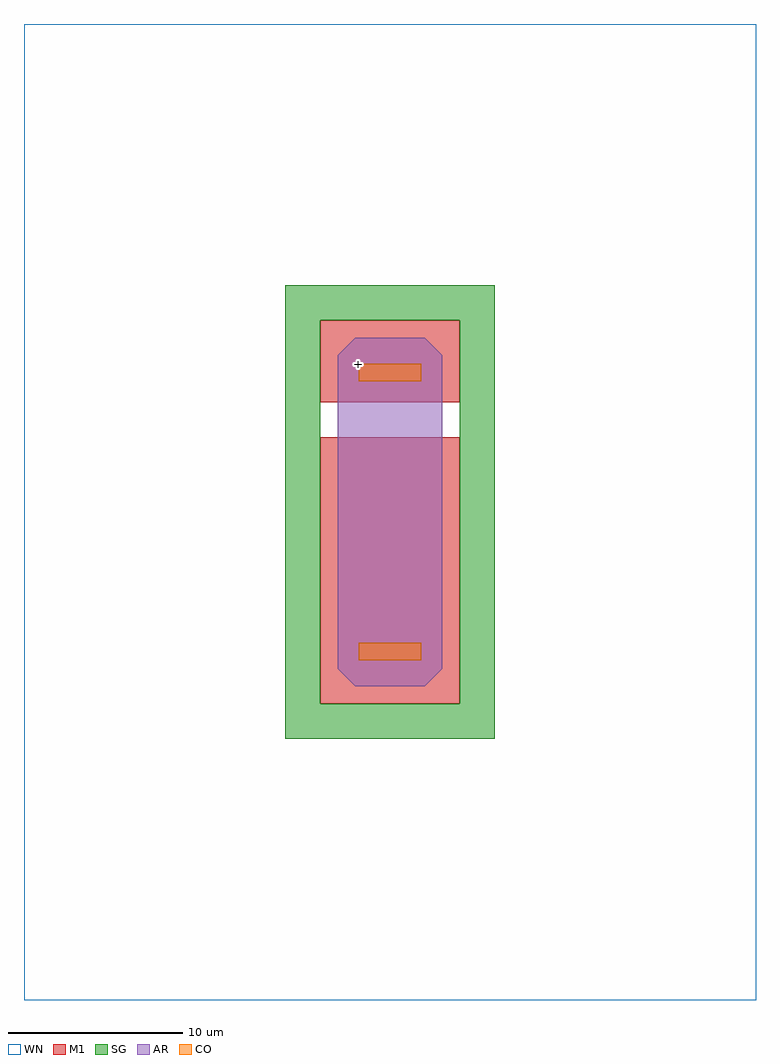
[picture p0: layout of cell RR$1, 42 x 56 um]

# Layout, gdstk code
import gdstk
lib = gdstk.Library(unit=1e-6, precision=1e-09)
def R(c, l, rs):  # rectangles x0, y0, x1, y1
    for r in rs: c.add(gdstk.rectangle(r[:2], r[2:], *l))
def P(c, l, *ps):  # polygons
    for p in ps: c.add(gdstk.Polygon(p, *l))
AR = (3, 3)
SG = (8, 0)
CO = (11, 0)
M1 = (13, 0)
WN = (140, 0)

rr_1 = lib.new_cell('RR$1')
P(rr_1, AR, [(1,0),(0,1),(0,19),(1,20),(5,20),(6,19),(6,1),(5,0)])
R(rr_1, CO, [(1.2,1.5,4.8,2.5), (1.2,17.5,4.8,18.5)])
R(rr_1, M1, [(-1,-1,7,14.3), (-1,16.3,7,21)])
R(rr_1, WN, [(-18,-18,24,38)])
rr_1.add(gdstk.FlexPath([(-3,-2),(8,-2),(8,22),(-2,22),(-2,-1)], 2, ends="flush", simple_path=True, layer=8, datatype=0))  # SG
rr_1.add(gdstk.Label('+', (1.2,18.5), layer=11, texttype=0))

lib.write_gds('RR_1.gds')
